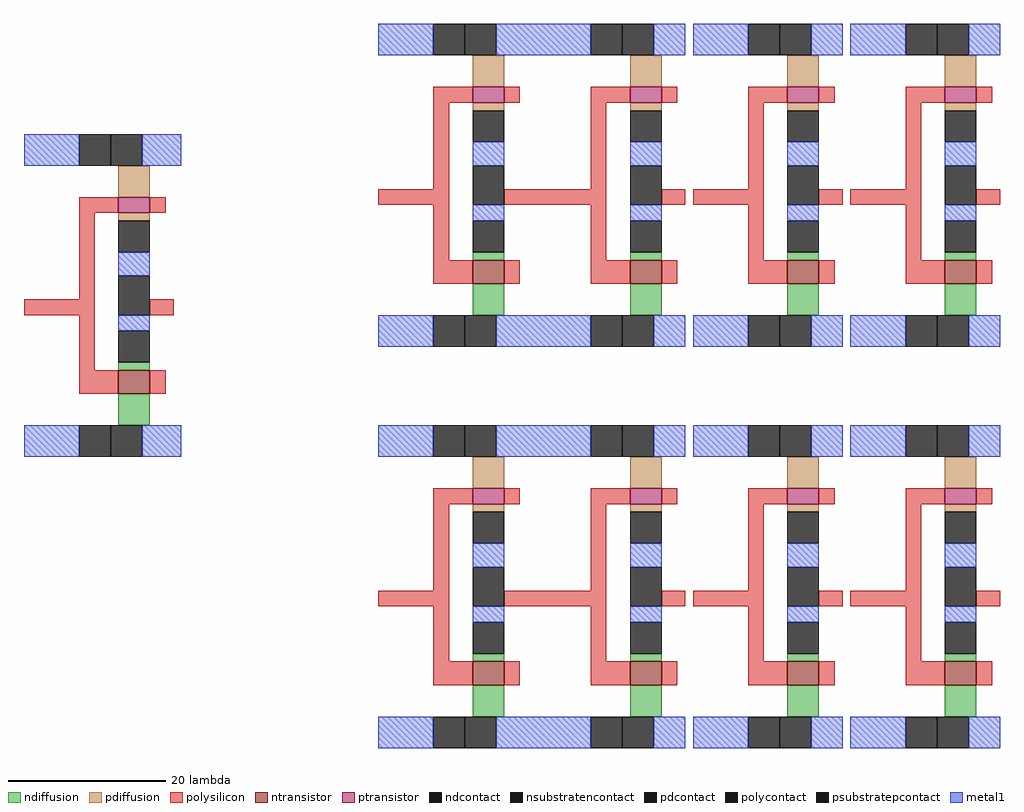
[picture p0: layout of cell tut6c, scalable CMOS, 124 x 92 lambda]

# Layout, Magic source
magic
tech scmos
<< polysilicon >>
rect 53 28 55 30
rect 54 -23 56 -21
<< metal1 >>
rect 52 47 55 51
rect 9 33 10 37
rect 52 10 55 14
rect 9 -4 10 0
rect 52 -4 55 0
rect 52 -41 55 -37
use tut6y tut6y_0
transform 1 0 -23 0 1 -33
box 13 29 32 70
use tut6y tut6y_1
array 0 3 20 0 1 51
transform 1 0 22 0 1 -70
box 13 29 32 70
<< end >>

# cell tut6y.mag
magic
tech scmos
<< polysilicon >>
rect 20 60 25 62
rect 29 60 31 62
rect 20 49 22 60
rect 13 47 22 49
rect 29 47 32 49
rect 20 40 22 47
rect 20 37 25 40
rect 29 37 31 40
<< ndiffusion >>
rect 25 40 29 41
rect 25 33 29 37
<< pdiffusion >>
rect 25 62 29 66
rect 25 59 29 60
<< metal1 >>
rect 13 66 20 70
rect 28 66 32 70
rect 25 52 29 55
rect 25 45 29 47
rect 13 29 20 33
rect 28 29 32 33
<< polycontact >>
rect 25 47 29 52
<< ndcontact >>
rect 25 41 29 45
rect 24 29 28 33
<< pdcontact >>
rect 24 66 28 70
rect 25 55 29 59
<< ntransistor >>
rect 25 37 29 40
<< ptransistor >>
rect 25 60 29 62
<< psubstratepcontact >>
rect 20 29 24 33
<< nsubstratencontact >>
rect 20 66 24 70
<< end >>
